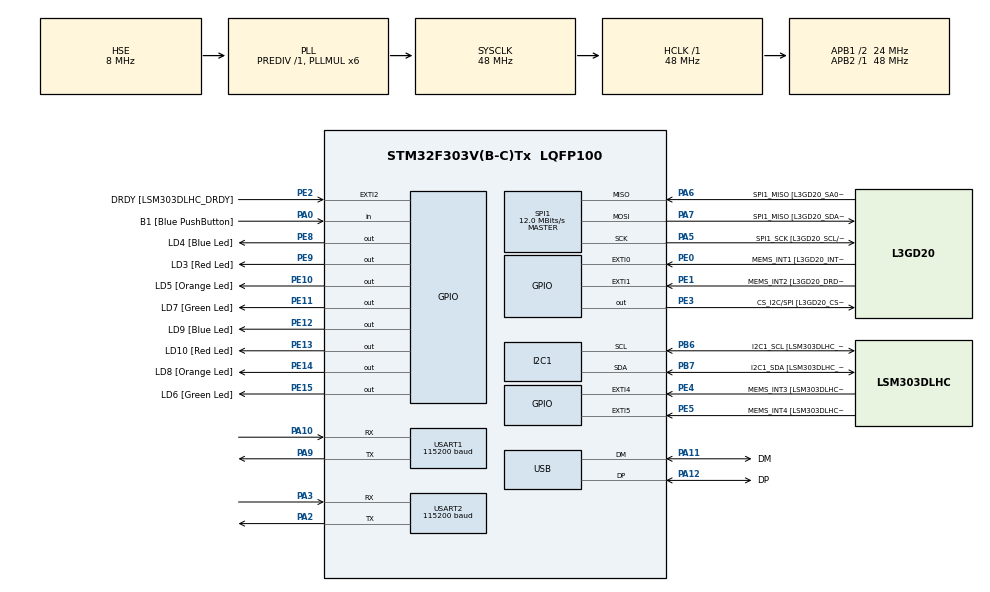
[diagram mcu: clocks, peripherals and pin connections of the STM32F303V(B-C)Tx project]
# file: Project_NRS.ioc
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I2C1.Timing=0x00201D2B
I2C1.Timing-I2C=0x2000090E
Mcu.Family=STM32F3
Mcu.Name=STM32F303V(B-C)Tx
Mcu.Package=LQFP100
NVIC.PriorityGroup=NVIC_PRIORITYGROUP_0
NVIC.USART1_IRQn=true\:0\:0\:false\:false\:true\:true\:true\:true
PA0.GPIO_Label=B1 [Blue PushButton]
PA0.Signal=GPIO_Input
PA10.Mode=Asynchronous
PA10.Signal=USART1_RX
PA11.GPIO_Label=DM
PA11.Mode=Device
PA11.Signal=USB_DM
PA12.GPIO_Label=DP
PA12.Mode=Device
PA12.Signal=USB_DP
PA13.GPIO_Label=SWDIO
PA13.Mode=Serial_Wire
PA13.Signal=SYS_JTMS-SWDIO
PA14.GPIO_Label=SWCLK
PA14.Mode=Serial_Wire
PA14.Signal=SYS_JTCK-SWCLK
PA2.Mode=Asynchronous
PA2.Signal=USART2_TX
PA3.Mode=Asynchronous
PA3.Signal=USART2_RX
PA5.GPIO_Label=SPI1_SCK [L3GD20_SCL/SPC]
PA5.Mode=Full_Duplex_Master
PA5.Signal=SPI1_SCK
PA6.GPIO_Label=SPI1_MISO [L3GD20_SA0/SDO]
PA6.Mode=Full_Duplex_Master
PA6.Signal=SPI1_MISO
PA7.GPIO_Label=SPI1_MISO [L3GD20_SDA/SDI/SDO]
PA7.Mode=Full_Duplex_Master
PA7.Signal=SPI1_MOSI
PA9.Mode=Asynchronous
PA9.Signal=USART1_TX
PB3.GPIO_Label=SWO
PB3.Signal=SYS_JTDO-TRACESWO
PB6.GPIO_Label=I2C1_SCL [LSM303DLHC_SCL]
PB6.GPIO_Pu=GPIO_PULLUP
PB6.Mode=I2C
PB6.Signal=I2C1_SCL
PB7.GPIO_Label=I2C1_SDA [LSM303DLHC_SDA]
PB7.GPIO_Pu=GPIO_PULLUP
PB7.Mode=I2C
PB7.Signal=I2C1_SDA
PC14-OSC32_IN.GPIO_Label=OSC32_IN
PC14-OSC32_IN.Signal=RCC_OSC32_IN
PC15-OSC32_OUT.GPIO_Label=OSC32_OUT
PC15-OSC32_OUT.Signal=RCC_OSC32_OUT
PE0.GPIO_Label=MEMS_INT1 [L3GD20_INT1]
PE0.GPIO_ModeDefaultEXTI=GPIO_MODE_EVT_RISING
PE0.Signal=GPXTI0
PE1.GPIO_Label=MEMS_INT2 [L3GD20_DRDY/INT2]
PE1.GPIO_ModeDefaultEXTI=GPIO_MODE_EVT_RISING
PE1.Signal=GPXTI1
PE10.GPIO_Label=LD5 [Orange Led]
PE10.Signal=GPIO_Output
PE11.GPIO_Label=LD7 [Green Led]
PE11.Signal=GPIO_Output
PE12.GPIO_Label=LD9 [Blue Led]
PE12.Signal=GPIO_Output
PE13.GPIO_Label=LD10 [Red Led]
PE13.Signal=GPIO_Output
PE14.GPIO_Label=LD8 [Orange Led]
PE14.Signal=GPIO_Output
PE15.GPIO_Label=LD6 [Green Led]
PE15.Signal=GPIO_Output
PE2.GPIO_Label=DRDY [LSM303DLHC_DRDY]
PE2.GPIO_ModeDefaultEXTI=GPIO_MODE_EVT_RISING
PE2.Signal=GPXTI2
PE3.GPIO_Label=CS_I2C/SPI [L3GD20_CS_I2C/SPI]
PE3.Signal=GPIO_Output
PE4.GPIO_Label=MEMS_INT3 [LSM303DLHC_INT1]
PE4.GPIO_ModeDefaultEXTI=GPIO_MODE_EVT_RISING
PE4.Signal=GPXTI4
PE5.GPIO_Label=MEMS_INT4 [LSM303DLHC_INT2]
PE5.GPIO_ModeDefaultEXTI=GPIO_MODE_EVT_RISING
PE5.Signal=GPXTI5
PE8.GPIO_Label=LD4 [Blue Led]
PE8.Signal=GPIO_Output
PE9.GPIO_Label=LD3 [Red Led]
PE9.Signal=GPIO_Output
PF0-OSC_IN.GPIO_Label=OSC_IN
PF0-OSC_IN.Mode=HSE-External-Clock-Source
PF0-OSC_IN.Signal=RCC_OSC_IN
PF1-OSC_OUT.GPIO_Label=OSC_OUT
PF1-OSC_OUT.Signal=RCC_OSC_OUT
ProjectManager.HeapSize=0x200
ProjectManager.StackSize=0x400
ProjectManager.TargetToolchain=STM32CubeIDE
RCC.AHBFreq_Value=48000000
RCC.APB1CLKDivider=RCC_HCLK_DIV2
RCC.APB1Freq_Value=24000000
RCC.APB1TimFreq_Value=48000000
RCC.APB2Freq_Value=48000000
RCC.APB2TimFreq_Value=48000000
RCC.CortexFreq_Value=48000000
RCC.HCLKFreq_Value=48000000
RCC.HSE_VALUE=8000000
RCC.HSI_VALUE=8000000
RCC.LSE_VALUE=32768
RCC.PLLMUL=RCC_PLL_MUL6
RCC.SYSCLKFreq_VALUE=48000000
RCC.SYSCLKSourceVirtual=RCC_SYSCLKSOURCE_PLLCLK
RCC.USBFreq_Value=48000000
SPI1.BaudRatePrescaler=SPI_BAUDRATEPRESCALER_4
SPI1.BaudRatePrescaler-Full_Duplex_Master=SPI_BAUDRATEPRESCALER_2
SPI1.CalculateBaudRate=12.0 MBits/s
SPI1.CalculateBaudRate-Full_Duplex_Master=24.0 MBits/s
SPI1.Direction=SPI_DIRECTION_2LINES
SPI1.Mode=SPI_MODE_MASTER
SPI1.Mode-Full_Duplex_Master=SPI_MODE_MASTER
SPI1.VirtualType=VM_MASTER
TIM3.Period=999
TIM3.Prescaler=47
USART1.BaudRate=115200
USART1.VirtualMode-Asynchronous=VM_ASYNC
USART2.BaudRate=115200
USART2.VirtualMode-Asynchronous=VM_ASYNC
VP_TIM3_VS_ClockSourceINT.Mode=Internal
board=STM32F3DISCOVERY

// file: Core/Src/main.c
/* USER CODE BEGIN Header */
/**
 * *****************************************************************************
 * @file           : main.c
 ******************************************************************************
 */
/* USER CODE END Header */
#include "main.h"

/* USER CODE BEGIN Includes */
#include "lsm303dlhc.h"
#include <string.h>
#include <stdio.h>
/* USER CODE END Includes */

/* USER CODE BEGIN PTD */

/* Rezultat AT ukaza */
typedef enum {
  ESP32_OK = 0,
  ESP32_ERROR,
  ESP32_TIMEOUT
} ESP32_Result_t;

/* USER CODE END PTD */

/* USER CODE BEGIN PD */

/* WiFi podatki - ce so nastavljeni, se uporabijo namesto webserverja */
#define WIFI_SSID "WIFI_SSID"
#define WIFI_PASS "WIFI_PASS"

/* TCP streznik za podatke */
#define TCP_HOST  "10.108.204.142"
#define TCP_PORT  8080

/* Access Point za konfiguracijo */
#define AP_SSID   "ESP32_Setup"
#define AP_PASS   "setup1234"

/* Webserver nastavitve */
#define WEBSERVER_PORT 80
#define WEBSERVER_TIMEOUT 60

/* ESP32 UART nastavitve */
#define ESP32_BUFFER_SIZE 512U
#define ESP32_TIMEOUT_SHORT 1000U
#define ESP32_TIMEOUT_WIFI 15000U
#define ESP32_TIMEOUT_TCP 10000U

/* Cas med vzorci v milisekundah */
#define SAMPLE_INTERVAL_MS 200U

/* USER CODE END PD */

I2C_HandleTypeDef hi2c1;

SPI_HandleTypeDef hspi1;

TIM_HandleTypeDef htim3;

UART_HandleTypeDef huart1;
UART_HandleTypeDef huart2;

PCD_HandleTypeDef hpcd_USB_FS;

/* USER CODE BEGIN PV */

/* Buffer za sprejem podatkov iz ESP32 */
static char esp32_rx_buffer[ESP32_BUFFER_SIZE];

/* Podatki iz accelerometra */
static AccelData_t accel_data;

/* Zastavica ali je TCP povezava aktivna */
static uint8_t tcp_connected = 0;

/* USER CODE END PV */

void SystemClock_Config(void);
static void MX_GPIO_Init(void);
static void MX_I2C1_Init(void);
static void MX_SPI1_Init(void);
static void MX_USB_PCD_Init(void);
static void MX_TIM3_Init(void);
static void MX_USART1_UART_Init(void);
static void MX_USART2_UART_Init(void);
/* USER CODE BEGIN PFP */

/* ESP32 AT komunikacija */
static void ESP32_FlushBuffer(void);
static ESP32_Result_t ESP32_WaitResponse(const char *resp1, const char *resp2, uint32_t timeout_ms);
static ESP32_Result_t ESP32_SendCommand(const char *cmd, const char *resp1, const char *resp2, uint32_t timeout_ms);

/* Funkcije za WiFi konfiguracijo */
static HAL_StatusTypeDef ESP32_StartWebserver(void);
static uint8_t ESP32_HasStaticWiFi(void);
static HAL_StatusTypeDef ESP32_ConnectWiFi(void);

/* Funkcije za TCP komunikacijo */
static HAL_StatusTypeDef ESP32_ConnectTCP(void);
static HAL_StatusTypeDef ESP32_SendData(const char *data);

/* Funkcija za prikaz smeri na LED */
static void LED_ShowDirection(AccelData_t *data);
/* USER CODE END PFP */

/* USER CODE BEGIN 0 */

/* Pocisti UART sprejemni buffer */
static void ESP32_FlushBuffer(void)
{
  uint8_t byte = 0;

  /* Beri vse kar je v bufferju dokler ni prazen */
  while (HAL_UART_Receive(&huart1, &byte, 1, 10) == HAL_OK) {
  }
}

/* Cakaj na odgovor iz ESP32 */
static ESP32_Result_t ESP32_WaitResponse(const char *resp1, const char *resp2, uint32_t timeout_ms)
{
  uint32_t start = HAL_GetTick();
  size_t len = 0;
  uint8_t byte = 0;

  /* Pocisti buffer */
  memset(esp32_rx_buffer, 0, sizeof(esp32_rx_buffer));

  /* Cakaj na odgovor do preteka casa */
  while ((HAL_GetTick() - start) < timeout_ms) {

    /* Preberi znak iz UART */
    if (HAL_UART_Receive(&huart1, &byte, 1, 10) == HAL_OK) {

      /* Dodaj znak v buffer ce je se prostor */
      if (len < (sizeof(esp32_rx_buffer) - 1U)) {
        esp32_rx_buffer[len++] = (char)byte;
        esp32_rx_buffer[len] = '\0';
      }

      /* Preveri ali se je povezava zaprla */
      if (strstr(esp32_rx_buffer, "CLOSED")) {
        tcp_connected = 0;
      }

      /* Preveri ali je prislo do napake */
      if (strstr(esp32_rx_buffer, "ERROR") || strstr(esp32_rx_buffer, "FAIL")) {
        return ESP32_ERROR;
      }

      /* Preveri ali smo dobili pricakovan odgovor */
      if ((resp1 && strstr(esp32_rx_buffer, resp1)) || (resp2 && strstr(esp32_rx_buffer, resp2))) {
        return ESP32_OK;
      }
    }
  }

  return ESP32_TIMEOUT;
}

/* Poslji AT ukaz na ESP32 in cakaj odgovor */
static ESP32_Result_t ESP32_SendCommand(const char *cmd, const char *resp1, const char *resp2, uint32_t timeout_ms)
{
  /* Pocisti buffer pred posiljanjem */
  ESP32_FlushBuffer();

  /* Poslji ukaz preko UART */
  if (HAL_UART_Transmit(&huart1, (uint8_t *)cmd, strlen(cmd), HAL_MAX_DELAY) != HAL_OK) {
    return ESP32_ERROR;
  }

  /* Cakaj na odgovor */
  return ESP32_WaitResponse(resp1, resp2, timeout_ms);
}

/* Zazeni ESP32 webserver za WiFi konfiguracijo */
static HAL_StatusTypeDef ESP32_StartWebserver(void)
{
  char cmd[96];

  /* Omogoci shranjevanje nastavitev v flash */
  if (ESP32_SendCommand("AT+SYSSTORE=1\r\n", "OK", NULL, ESP32_TIMEOUT_SHORT) != ESP32_OK) {
    return HAL_ERROR;
  }

  /* Omogoci samodejno povezavo ob zagonu */
  if (ESP32_SendCommand("AT+CWAUTOCONN=1\r\n", "OK", NULL, ESP32_TIMEOUT_SHORT) != ESP32_OK) {
    return HAL_ERROR;
  }

  /* Nastavi AP+Station nacin delovanja */
  if (ESP32_SendCommand("AT+CWMODE=3\r\n", "OK", NULL, ESP32_TIMEOUT_SHORT) != ESP32_OK) {
    return HAL_ERROR;
  }

  /* Konfiguriraj Access Point */
  snprintf(cmd, sizeof(cmd), "AT+CWSAP=\"%s\",\"%s\",1,3\r\n", AP_SSID, AP_PASS);
  if (ESP32_SendCommand(cmd, "OK", NULL, ESP32_TIMEOUT_SHORT) != ESP32_OK) {
    return HAL_ERROR;
  }

  /* Zazeni webserver na portu 80 */
  snprintf(cmd, sizeof(cmd), "AT+WEBSERVER=1,%u,%u\r\n",
           (unsigned)WEBSERVER_PORT, (unsigned)WEBSERVER_TIMEOUT);
  if (ESP32_SendCommand(cmd, "OK", NULL, 10000) != ESP32_OK) {
    return HAL_ERROR;
  }

  return HAL_OK;
}

/* Preveri ali so staticni WiFi podatki nastavljeni */
static uint8_t ESP32_HasStaticWiFi(void)
{
  /* Ce WIFI_SSID ni privzeta vrednost, imamo staticne podatke */
  return (strcmp(WIFI_SSID, "WIFI_SSID") != 0) &&
         (strcmp(WIFI_PASS, "WIFI_PASS") != 0);
}

/* Povezi ESP32 na WiFi omrezje s staticnimi podatki */
static HAL_StatusTypeDef ESP32_ConnectWiFi(void)
{
  char cmd[128];

  /* Nastavi AP+Station nacin */
  if (ESP32_SendCommand("AT+CWMODE=3\r\n", "OK", NULL, ESP32_TIMEOUT_SHORT) != ESP32_OK) {
    return HAL_ERROR;
  }

  /* Povezi na WiFi omrezje */
  snprintf(cmd, sizeof(cmd), "AT+CWJAP=\"%s\",\"%s\"\r\n", WIFI_SSID, WIFI_PASS);
  if (ESP32_SendCommand(cmd, "OK", "WIFI GOT IP", ESP32_TIMEOUT_WIFI) != ESP32_OK) {
    return HAL_ERROR;
  }

  /* Nastavi enojno povezavo za TCP */
  if (ESP32_SendCommand("AT+CIPMUX=0\r\n", "OK", NULL, ESP32_TIMEOUT_SHORT) != ESP32_OK) {
    return HAL_ERROR;
  }

  return HAL_OK;
}

/* Odpri TCP povezavo do streznika */
static HAL_StatusTypeDef ESP32_ConnectTCP(void)
{
  char cmd[64];

  /* Povezi se na TCP streznik */
  snprintf(cmd, sizeof(cmd), "AT+CIPSTART=\"TCP\",\"%s\",%u\r\n", TCP_HOST, TCP_PORT);
  if (ESP32_SendCommand(cmd, "CONNECT", "OK", ESP32_TIMEOUT_TCP) != ESP32_OK) {
    tcp_connected = 0;
    return HAL_ERROR;
  }

  tcp_connected = 1;
  return HAL_OK;
}

/* Poslji podatke preko TCP povezave */
static HAL_StatusTypeDef ESP32_SendData(const char *data)
{
  char cmd[32];
  size_t len = strlen(data);

  /* Poslji CIPSEND ukaz z dolzino podatkov */
  snprintf(cmd, sizeof(cmd), "AT+CIPSEND=%lu\r\n", (unsigned long)len);
  if (ESP32_SendCommand(cmd, ">", NULL, ESP32_TIMEOUT_SHORT) != ESP32_OK) {
    tcp_connected = 0;
    return HAL_ERROR;
  }

  /* Poslji dejanske podatke */
  if (HAL_UART_Transmit(&huart1, (uint8_t *)data, len, HAL_MAX_DELAY) != HAL_OK) {
    return HAL_ERROR;
  }

  /* Cakaj potrditev posiljanja */
  if (ESP32_WaitResponse("SEND OK", NULL, ESP32_TIMEOUT_SHORT) != ESP32_OK) {
    tcp_connected = 0;
    return HAL_ERROR;
  }

  return HAL_OK;
}

/* Prikazi smer nagiba na LED diodah */
static void LED_ShowDirection(AccelData_t *data)
{
  /* Ugasni vse smerne LED */
  HAL_GPIO_WritePin(GPIOE, LD3_Pin|LD4_Pin|LD5_Pin|LD6_Pin|
                           LD7_Pin|LD8_Pin|LD9_Pin|LD10_Pin, GPIO_PIN_RESET);

  /* X os - levo/desno */
  if (data->x_g > 0.3f) {
    /* Nagib desno */
    HAL_GPIO_WritePin(GPIOE, LD6_Pin, GPIO_PIN_SET);
  } else if (data->x_g < -0.3f) {
    /* Nagib levo */
    HAL_GPIO_WritePin(GPIOE, LD4_Pin, GPIO_PIN_SET);
  }

  /* Y os - naprej/nazaj */
  if (data->y_g > 0.3f) {
    /* Nagib naprej */
    HAL_GPIO_WritePin(GPIOE, LD10_Pin, GPIO_PIN_SET);
  } else if (data->y_g < -0.3f) {
    /* Nagib nazaj */
    HAL_GPIO_WritePin(GPIOE, LD8_Pin, GPIO_PIN_SET);
  }
}

/* USER CODE END 0 */

int main(void)
{

  /* MCU Configuration--------------------------------------------------------*/

  HAL_Init();

  SystemClock_Config();

  MX_GPIO_Init();
  MX_I2C1_Init();
  MX_SPI1_Init();
  MX_USB_PCD_Init();
  MX_TIM3_Init();
  MX_USART2_UART_Init();
  MX_USART1_UART_Init();
  /* USER CODE BEGIN 2 */

  /* Pocakaj da se ESP32 zazene */
  HAL_Delay(2000);

  /* Ugasni vse LED */
  HAL_GPIO_WritePin(GPIOE, LD3_Pin|LD4_Pin|LD5_Pin|LD6_Pin|
                           LD7_Pin|LD8_Pin|LD9_Pin|LD10_Pin, GPIO_PIN_RESET);

  /* Testiraj komunikacijo z ESP32 */
  /* Prizgi LED3 (rdeca) ko cakamo na ESP32 */
  HAL_GPIO_WritePin(GPIOE, LD3_Pin, GPIO_PIN_SET);
  while (ESP32_SendCommand("AT\r\n", "OK", NULL, ESP32_TIMEOUT_SHORT) != ESP32_OK) {
    HAL_Delay(1000);
  }

  /* ESP32 se odziva - ugasni LED3, prizgi LED5 (oranzna) */
  HAL_GPIO_WritePin(GPIOE, LD3_Pin, GPIO_PIN_RESET);
  HAL_GPIO_WritePin(GPIOE, LD5_Pin, GPIO_PIN_SET);

  /* Izklopi odmev ukazov */
  ESP32_SendCommand("ATE0\r\n", "OK", NULL, ESP32_TIMEOUT_SHORT);

  /* Preberi verzijo firmware */
  ESP32_SendCommand("AT+GMR\r\n", "OK", NULL, ESP32_TIMEOUT_SHORT);

  /* Zazeni webserver za konfiguracijo WiFi */
  /* Prizgi LED7 (zelena) ce webserver uspesno zazene */
  if (ESP32_StartWebserver() == HAL_OK) {
    HAL_GPIO_WritePin(GPIOE, LD5_Pin, GPIO_PIN_RESET);
    HAL_GPIO_WritePin(GPIOE, LD7_Pin, GPIO_PIN_SET);
  }

  /* Ce imamo staticne WiFi podatke, se takoj povezi */
  if (ESP32_HasStaticWiFi()) {
    while (ESP32_ConnectWiFi() != HAL_OK) {
      HAL_Delay(2000);
    }
  }

  /* Inicializiraj accelerometer */
  if (LSM303DLHC_Init(&hi2c1) != HAL_OK) {
    /* Napaka - utripaj z rdeco LED */
    while(1) {
      HAL_GPIO_TogglePin(GPIOE, LD3_Pin);
      HAL_Delay(200);
    }
  }

  /* Kalibriraj accelerometer */
  /* Prizgi LED9 (oranzna) med kalibracijo */
  HAL_GPIO_WritePin(GPIOE, LD9_Pin, GPIO_PIN_SET);

  /* Pocakaj sekundo da se naprava umiri */
  HAL_Delay(1000);

  /* Izvedi kalibracijo */
  LSM303DLHC_Calibrate(&hi2c1);

  /* Ugasni LED9 - kalibracija koncana */
  HAL_GPIO_WritePin(GPIOE, LD9_Pin, GPIO_PIN_RESET);

  /* USER CODE END 2 */

  /* Infinite loop */
  while (1)
  {

    /* USER CODE BEGIN 3 */

    /* Preberi podatke iz accelerometra */
    if (LSM303DLHC_ReadAccel(&hi2c1, &accel_data) == HAL_OK) {

      /* Prikazi smer na LED */
      LED_ShowDirection(&accel_data);

      /* Ce TCP ni povezan, odpri povezavo */
      if (!tcp_connected) {
        if (ESP32_ConnectTCP() != HAL_OK) {

          /* TCP povezava ni uspela - morda WiFi ni povezan */
          if (ESP32_HasStaticWiFi()) {
            ESP32_ConnectWiFi();
          }

          /* Pocakaj pred ponovnim poskusom */
          HAL_Delay(1000);
          continue;
        }

        /* TCP povezan - ugasni vse statusne LED, samo smerne ostanejo */
        HAL_GPIO_WritePin(GPIOE, LD3_Pin|LD5_Pin|LD7_Pin|LD9_Pin, GPIO_PIN_RESET);
      }

      /* Oblikuj podatke v JSON format */
      char json_data[64];
      snprintf(json_data, sizeof(json_data), "{\"x\":%.3f,\"y\":%.3f,\"z\":%.3f}\n",
               accel_data.x_g, accel_data.y_g, accel_data.z_g);

      /* Poslji podatke na streznik */
      if (ESP32_SendData(json_data) != HAL_OK) {
        /* Posiljanje ni uspelo - povezava je verjetno zaprta */
        tcp_connected = 0;
      }
    }

    /* Pocakaj do naslednjega vzorca */
    HAL_Delay(SAMPLE_INTERVAL_MS);
  }
  /* USER CODE END 3 */
}

void SystemClock_Config(void)
{
  RCC_OscInitTypeDef RCC_OscInitStruct = {0};
  RCC_ClkInitTypeDef RCC_ClkInitStruct = {0};
  RCC_PeriphCLKInitTypeDef PeriphClkInit = {0};

  RCC_OscInitStruct.OscillatorType = RCC_OSCILLATORTYPE_HSI|RCC_OSCILLATORTYPE_HSE;
  RCC_OscInitStruct.HSEState = RCC_HSE_BYPASS;
  RCC_OscInitStruct.HSEPredivValue = RCC_HSE_PREDIV_DIV1;
  RCC_OscInitStruct.HSIState = RCC_HSI_ON;
  RCC_OscInitStruct.HSICalibrationValue = RCC_HSICALIBRATION_DEFAULT;
  RCC_OscInitStruct.PLL.PLLState = RCC_PLL_ON;
  RCC_OscInitStruct.PLL.PLLSource = RCC_PLLSOURCE_HSE;
  RCC_OscInitStruct.PLL.PLLMUL = RCC_PLL_MUL6;
  if (HAL_RCC_OscConfig(&RCC_OscInitStruct) != HAL_OK)
  {
    Error_Handler();
  }

  RCC_ClkInitStruct.ClockType = RCC_CLOCKTYPE_HCLK|RCC_CLOCKTYPE_SYSCLK
                              |RCC_CLOCKTYPE_PCLK1|RCC_CLOCKTYPE_PCLK2;
  RCC_ClkInitStruct.SYSCLKSource = RCC_SYSCLKSOURCE_PLLCLK;
  RCC_ClkInitStruct.AHBCLKDivider = RCC_SYSCLK_DIV1;
  RCC_ClkInitStruct.APB1CLKDivider = RCC_HCLK_DIV2;
  RCC_ClkInitStruct.APB2CLKDivider = RCC_HCLK_DIV1;

  if (HAL_RCC_ClockConfig(&RCC_ClkInitStruct, FLASH_LATENCY_1) != HAL_OK)
  {
    Error_Handler();
  }
  PeriphClkInit.PeriphClockSelection = RCC_PERIPHCLK_USB|RCC_PERIPHCLK_USART1
                              |RCC_PERIPHCLK_USART2|RCC_PERIPHCLK_I2C1;
  PeriphClkInit.Usart1ClockSelection = RCC_USART1CLKSOURCE_PCLK2;
  PeriphClkInit.Usart2ClockSelection = RCC_USART2CLKSOURCE_PCLK1;
  PeriphClkInit.I2c1ClockSelection = RCC_I2C1CLKSOURCE_HSI;
  PeriphClkInit.USBClockSelection = RCC_USBCLKSOURCE_PLL;
  if (HAL_RCCEx_PeriphCLKConfig(&PeriphClkInit) != HAL_OK)
  {
    Error_Handler();
  }
}

static void MX_I2C1_Init(void)
{
  hi2c1.Instance = I2C1;
  hi2c1.Init.Timing = 0x00201D2B;
  hi2c1.Init.OwnAddress1 = 0;
  hi2c1.Init.AddressingMode = I2C_ADDRESSINGMODE_7BIT;
  hi2c1.Init.DualAddressMode = I2C_DUALADDRESS_DISABLE;
  hi2c1.Init.OwnAddress2 = 0;
  hi2c1.Init.OwnAddress2Masks = I2C_OA2_NOMASK;
  hi2c1.Init.GeneralCallMode = I2C_GENERALCALL_DISABLE;
  hi2c1.Init.NoStretchMode = I2C_NOSTRETCH_DISABLE;
  if (HAL_I2C_Init(&hi2c1) != HAL_OK)
  {
    Error_Handler();
  }
  if (HAL_I2CEx_ConfigAnalogFilter(&hi2c1, I2C_ANALOGFILTER_ENABLE) != HAL_OK)
  {
    Error_Handler();
  }
  if (HAL_I2CEx_ConfigDigitalFilter(&hi2c1, 0) != HAL_OK)
  {
    Error_Handler();
  }
}

static void MX_SPI1_Init(void)
{
  hspi1.Instance = SPI1;
  hspi1.Init.Mode = SPI_MODE_MASTER;
  hspi1.Init.Direction = SPI_DIRECTION_2LINES;
  hspi1.Init.DataSize = SPI_DATASIZE_4BIT;
  hspi1.Init.CLKPolarity = SPI_POLARITY_LOW;
  hspi1.Init.CLKPhase = SPI_PHASE_1EDGE;
  hspi1.Init.NSS = SPI_NSS_SOFT;
  hspi1.Init.BaudRatePrescaler = SPI_BAUDRATEPRESCALER_4;
  hspi1.Init.FirstBit = SPI_FIRSTBIT_MSB;
  hspi1.Init.TIMode = SPI_TIMODE_DISABLE;
  hspi1.Init.CRCCalculation = SPI_CRCCALCULATION_DISABLE;
  hspi1.Init.CRCPolynomial = 7;
  hspi1.Init.CRCLength = SPI_CRC_LENGTH_DATASIZE;
  hspi1.Init.NSSPMode = SPI_NSS_PULSE_ENABLE;
  if (HAL_SPI_Init(&hspi1) != HAL_OK)
  {
    Error_Handler();
  }
}

static void MX_TIM3_Init(void)
{
  TIM_ClockConfigTypeDef sClockSourceConfig = {0};
  TIM_MasterConfigTypeDef sMasterConfig = {0};

  htim3.Instance = TIM3;
  htim3.Init.Prescaler = 47;
  htim3.Init.CounterMode = TIM_COUNTERMODE_UP;
  htim3.Init.Period = 999;
  htim3.Init.ClockDivision = TIM_CLOCKDIVISION_DIV1;
  htim3.Init.AutoReloadPreload = TIM_AUTORELOAD_PRELOAD_DISABLE;
  if (HAL_TIM_Base_Init(&htim3) != HAL_OK)
  {
    Error_Handler();
  }
  sClockSourceConfig.ClockSource = TIM_CLOCKSOURCE_INTERNAL;
  if (HAL_TIM_ConfigClockSource(&htim3, &sClockSourceConfig) != HAL_OK)
  {
    Error_Handler();
  }
  sMasterConfig.MasterOutputTrigger = TIM_TRGO_RESET;
  sMasterConfig.MasterSlaveMode = TIM_MASTERSLAVEMODE_DISABLE;
  if (HAL_TIMEx_MasterConfigSynchronization(&htim3, &sMasterConfig) != HAL_OK)
  {
    Error_Handler();
  }
}

static void MX_USART1_UART_Init(void)
{
  huart1.Instance = USART1;
  huart1.Init.BaudRate = 115200;
  huart1.Init.WordLength = UART_WORDLENGTH_8B;
  huart1.Init.StopBits = UART_STOPBITS_1;
  huart1.Init.Parity = UART_PARITY_NONE;
  huart1.Init.Mode = UART_MODE_TX_RX;
  huart1.Init.HwFlowCtl = UART_HWCONTROL_NONE;
  huart1.Init.OverSampling = UART_OVERSAMPLING_16;
  huart1.Init.OneBitSampling = UART_ONE_BIT_SAMPLE_DISABLE;
  huart1.AdvancedInit.AdvFeatureInit = UART_ADVFEATURE_NO_INIT;
  if (HAL_UART_Init(&huart1) != HAL_OK)
  {
    Error_Handler();
  }
}

static void MX_USART2_UART_Init(void)
{
  huart2.Instance = USART2;
  huart2.Init.BaudRate = 115200;
  huart2.Init.WordLength = UART_WORDLENGTH_8B;
  huart2.Init.StopBits = UART_STOPBITS_1;
  huart2.Init.Parity = UART_PARITY_NONE;
  huart2.Init.Mode = UART_MODE_TX_RX;
  huart2.Init.HwFlowCtl = UART_HWCONTROL_NONE;
  huart2.Init.OverSampling = UART_OVERSAMPLING_16;
  huart2.Init.OneBitSampling = UART_ONE_BIT_SAMPLE_DISABLE;
  huart2.AdvancedInit.AdvFeatureInit = UART_ADVFEATURE_NO_INIT;
  if (HAL_UART_Init(&huart2) != HAL_OK)
  {
    Error_Handler();
  }
}

static void MX_USB_PCD_Init(void)
{
  hpcd_USB_FS.Instance = USB;
  hpcd_USB_FS.Init.dev_endpoints = 8;
  hpcd_USB_FS.Init.speed = PCD_SPEED_FULL;
  hpcd_USB_FS.Init.phy_itface = PCD_PHY_EMBEDDED;
  hpcd_USB_FS.Init.low_power_enable = DISABLE;
  hpcd_USB_FS.Init.battery_charging_enable = DISABLE;
  if (HAL_PCD_Init(&hpcd_USB_FS) != HAL_OK)
  {
    Error_Handler();
  }
}

static void MX_GPIO_Init(void)
{
  GPIO_InitTypeDef GPIO_InitStruct = {0};

  __HAL_RCC_GPIOE_CLK_ENABLE();
  __HAL_RCC_GPIOC_CLK_ENABLE();
  __HAL_RCC_GPIOF_CLK_ENABLE();
  __HAL_RCC_GPIOA_CLK_ENABLE();
  __HAL_RCC_GPIOB_CLK_ENABLE();

  HAL_GPIO_WritePin(GPIOE, CS_I2C_SPI_Pin|LD4_Pin|LD3_Pin|LD5_Pin
                          |LD7_Pin|LD9_Pin|LD10_Pin|LD8_Pin
                          |LD6_Pin, GPIO_PIN_RESET);

  GPIO_InitStruct.Pin = DRDY_Pin|MEMS_INT3_Pin|MEMS_INT4_Pin|MEMS_INT1_Pin
                          |MEMS_INT2_Pin;
  GPIO_InitStruct.Mode = GPIO_MODE_EVT_RISING;
  GPIO_InitStruct.Pull = GPIO_NOPULL;
  HAL_GPIO_Init(GPIOE, &GPIO_InitStruct);

  GPIO_InitStruct.Pin = CS_I2C_SPI_Pin|LD4_Pin|LD3_Pin|LD5_Pin
                          |LD7_Pin|LD9_Pin|LD10_Pin|LD8_Pin
                          |LD6_Pin;
  GPIO_InitStruct.Mode = GPIO_MODE_OUTPUT_PP;
  GPIO_InitStruct.Pull = GPIO_NOPULL;
  GPIO_InitStruct.Speed = GPIO_SPEED_FREQ_LOW;
  HAL_GPIO_Init(GPIOE, &GPIO_InitStruct);

  GPIO_InitStruct.Pin = B1_Pin;
  GPIO_InitStruct.Mode = GPIO_MODE_INPUT;
  GPIO_InitStruct.Pull = GPIO_NOPULL;
  HAL_GPIO_Init(B1_GPIO_Port, &GPIO_InitStruct);
}

void Error_Handler(void)
{
  __disable_irq();
  while (1)
  {
  }
}
